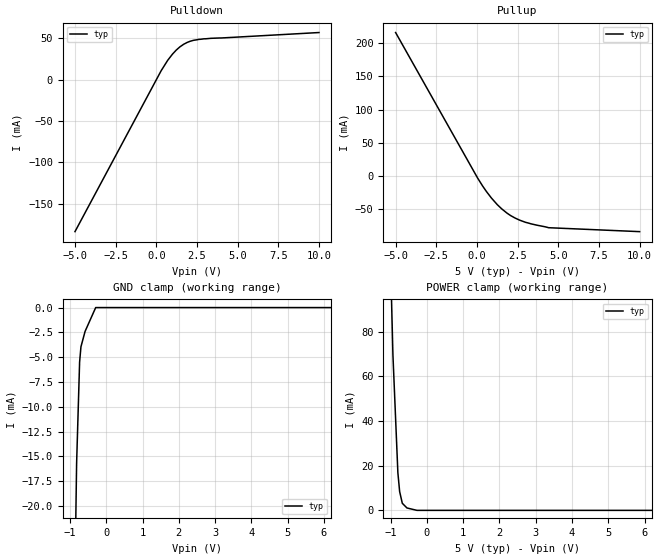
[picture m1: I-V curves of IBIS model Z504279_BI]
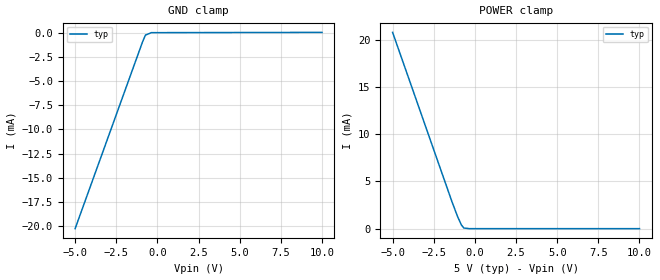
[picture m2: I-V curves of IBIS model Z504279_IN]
| YOU ARE ONLY AUTHORIZED TO USE THIS SOFTWARE
| ACCORDING TO LICENSOR'S LICENSE RESTRICTIONS.
[IBIS Ver] 3.1
[File Name] mc74hc648dw.ibs
[File Rev] 2.0
[Source] Measured and created by ICX Technology
[Date] Friday 7/14/00 9:08:11 AM
[Copyright]
| (C) COPYRIGHT 1993-2000
| MENTOR GRAPHICS CORPORATION
| ICX STANDARD LIBRARY, ICX PROJECT MODELING,
| ICX CUSTOM MODELING, ICX VENDOR MODEL
| ALL RIGHTS RESERVED.
| THE FOLLOWING ARE TRADEMARKS OR SERVICE MARKS OF
| MENTOR GRAPHICS CORPORATION:ICX (R), ICX STANDARD
| LIBRARY(R), ICX PROJECT MODELING(R), ICX CUSTOM
| MODELING(R), qualityIBIS(TM), MODELVIEWER(TM),
| AND MODELEDITOR(TM)
| ALL COPIES OF SOFTWARE, INCLUDING BUT NOT LIMITED TO
| ANY MODIFICATIONS, ENHANCEMENTS OR DERIVATIVE WORKS,
| MUST CONTAIN ALL MENTOR GRAPHICS CORPORATION'S
| NOTICES AND LEGENDS, INCLUDING THOSE EMBEDDED IN
| SOFTWARE AND THOSE AFFIXED TO SOFTWARE MEDIUM
| AND CONTAINER, AS RECEIVED FROM MENTOR GRAPHICS
| CORPORATION.
|  ZAP Model Builder 2.7
[Component] MC74HC648DW
[Manufacturer] OnSemiconductor
[Package]
| variable   typ   min   max
R_pkg  .18ohms NA NA
L_pkg  4.67nH NA NA
C_pkg  .637pF NA NA
[Pin] signal_name  model_name  R_pin  L_pin C_pin
1 CAB Z504279_IN .19 5.862n .712p
2 SAB Z504279_IN .186 5.372n .682p
3 DIR Z504279_IN .182 4.892n .652p
4 A0 Z504279_BI .178 4.422n .622p
5 A1 Z504279_BI .174 3.962n .592p
6 A2 Z504279_BI .17 3.512n .562p
7 A3 Z504279_BI .17 3.512n .562p
8 A4 Z504279_BI .174 3.962n .592p
9 A5 Z504279_BI .178 4.422n .622p
10 A6 Z504279_BI .182 4.892n .652p
11 A7 Z504279_BI .186 5.372n .682p
12 GND GND .19 5.862n .712p
13 B7 Z504279_BI .19 5.862n .712p
14 B6 Z504279_BI .186 5.372n .682p
15 B5 Z504279_BI .182 4.892n .652p
16 B4 Z504279_BI .178 4.422n .622p
17 B3 Z504279_BI .174 3.962n .592p
18 B2 Z504279_BI .17 3.512n .562p
19 B1 Z504279_BI .17 3.512n .562p
20 B0 Z504279_BI .174 3.962n .592p
21 _G Z504279_IN .178 4.422n .622p
22 SBA Z504279_IN .182 4.892n .652p
23 CBA Z504279_IN .186 5.372n .682p
24 VCC POWER .19 5.862n .712p
| Models and submodels in the file (2): Z504279_BI (I/O), Z504279_IN (Input)
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| (C) COPYRIGHT 1993-2000
| MENTOR GRAPHICS CORPORATION
| ICX STANDARD LIBRARY, ICX PROJECT MODELING,
| ICX CUSTOM MODELING, ICX VENDOR MODEL
| ALL RIGHTS RESERVED.
| THE FOLLOWING ARE TRADEMARKS OR SERVICE MARKS OF
| MENTOR GRAPHICS CORPORATION:ICX (R), ICX STANDARD
| LIBRARY(R), ICX PROJECT MODELING(R), ICX CUSTOM
| MODELING(R), qualityIBIS(TM), MODELVIEWER(TM),
| AND MODELEDITOR(TM)
| ALL COPIES OF SOFTWARE, INCLUDING BUT NOT LIMITED TO
| ANY MODIFICATIONS, ENHANCEMENTS OR DERIVATIVE WORKS,
| MUST CONTAIN ALL MENTOR GRAPHICS CORPORATION'S
| NOTICES AND LEGENDS, INCLUDING THOSE EMBEDDED IN
| SOFTWARE AND THOSE AFFIXED TO SOFTWARE MEDIUM
| AND CONTAINER, AS RECEIVED FROM MENTOR GRAPHICS
| CORPORATION.
| Model Application Version 1.89 2/18/99.
[Model] Z504279_BI
Model_type I/O
Vinl=1.000V
Vinh=3.500V
Vref=0.000V
Rref=500.0Mohms
Cref=50.00pF
Vmeas=2.500V
C_comp 8.000pF NA NA
| variable typ   min   max
[Voltage Range] 5.000V NA NA
[POWER Clamp Reference] 5.000V NA NA
[Pullup Reference] 5.000V NA NA
[Pulldown Reference] 0.000V NA NA
[GND Clamp Reference] 0.000V NA NA
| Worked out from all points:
|   slope of the pulldown table from 0 to 0.75 V, typ, clamps not added: 30.2 ohm
|   slope of the pullup table from 0 to 0.75 V, typ, clamps not added: 27.4 ohm
[GND Clamp]
-5V       -1.176A    NA         NA
-1.035V   -69.49mA   NA         NA
-818.7mV  -15.73mA   NA         NA
-736mV    -5.498mA   NA         NA
-699.1mV  -3.955mA   NA         NA
-585mV    -2.4mA     NA         NA
-292.5mV  0A         NA         NA
10V       0A         NA         NA
[Pulldown]
-5V       -183.8mA   NA         NA
294.6mV   10.88mA    NA         NA
699.2mV   23.57mA    NA         NA
994.2mV   31.07mA    NA         NA
1.442V    39.74mA    NA         NA
2.072V    46.58mA    NA         NA
2.927V    49.59mA    NA         NA
10V       57.2mA     NA         NA
[Pullup]
-5V       215.9mA    NA         NA
39mV      -2.749mA   NA         NA
577mV     -22.9mA    NA         NA
889mV     -32.86mA   NA         NA
1.528V    -49.28mA   NA         NA
2.072V    -59.3mA    NA         NA
2.627V    -66.16mA   NA         NA
3.298V    -71.52mA   NA         NA
4.393V    -77.49mA   NA         NA
10V       -83.42mA   NA         NA
[POWER Clamp]
-5V       3.205A     NA         NA
-1.108V   179.3mA    NA         NA
-938mV    69.86mA    NA         NA
-801mV    16.86mA    NA         NA
-752mV    8.384mA    NA         NA
-679mV    3.171mA    NA         NA
-551mV    1.074mA    NA         NA
-275.5mV  0A         NA         NA
10V       0A         NA         NA
[Ramp]
| variable typ min max
dV/dt_r 2.872/2.288n NA NA
dV/dt_f 2.872/1.843n NA NA
R_load = 500.0Ohms
| (C) COPYRIGHT 1993-2000
| MENTOR GRAPHICS CORPORATION
| ICX STANDARD LIBRARY, ICX PROJECT MODELING,
| ICX CUSTOM MODELING, ICX VENDOR MODEL
| ALL RIGHTS RESERVED.
| THE FOLLOWING ARE TRADEMARKS OR SERVICE MARKS OF
| MENTOR GRAPHICS CORPORATION:ICX (R), ICX STANDARD
| LIBRARY(R), ICX PROJECT MODELING(R), ICX CUSTOM
| MODELING(R), qualityIBIS(TM), MODELVIEWER(TM),
| AND MODELEDITOR(TM)
| ALL COPIES OF SOFTWARE, INCLUDING BUT NOT LIMITED TO
| ANY MODIFICATIONS, ENHANCEMENTS OR DERIVATIVE WORKS,
| MUST CONTAIN ALL MENTOR GRAPHICS CORPORATION'S
| NOTICES AND LEGENDS, INCLUDING THOSE EMBEDDED IN
| SOFTWARE AND THOSE AFFIXED TO SOFTWARE MEDIUM
| AND CONTAINER, AS RECEIVED FROM MENTOR GRAPHICS
| CORPORATION.
| Model Application Version 1.89 2/18/99.
[Model] Z504279_IN
Model_type Input
Vinl = 1.000V
Vinh = 3.500V
C_comp 4.000pF NA NA
| variable typ   min   max
[Voltage Range] 5.000V NA NA
[GND Clamp Reference] 0.000V NA NA
[POWER Clamp Reference] 5.000V NA NA
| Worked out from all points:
|   POWER clamp passes 1 mA (typ) near -0.98 V on its own axis
[GND Clamp]
-5V       -20.24mA   NA         NA
-897.5mV  -938.7uA   NA         NA
-728.1mV  -268.1uA   NA         NA
-364.1mV  -13.38uA   NA         NA
10V       12.57uA    NA         NA
[POWER Clamp]
-5V       20.8mA     NA         NA
-1.403V   2.9mA      NA         NA
-1.06V    1.312mA    NA         NA
-829mV    417.4uA    NA         NA
-672mV    67.19uA    NA         NA
-336mV    0A         NA         NA
10V       0A         NA         NA
